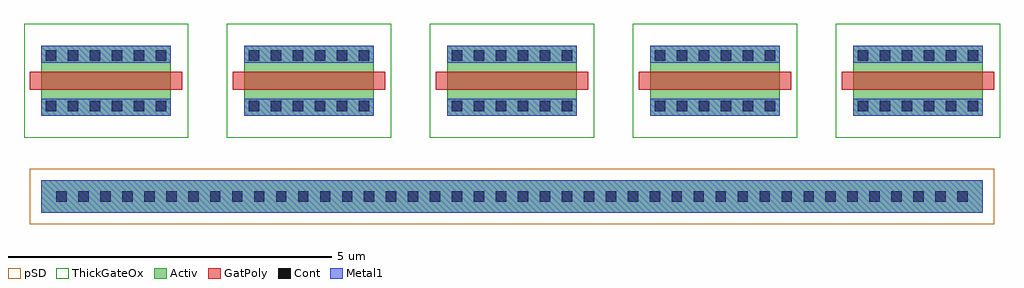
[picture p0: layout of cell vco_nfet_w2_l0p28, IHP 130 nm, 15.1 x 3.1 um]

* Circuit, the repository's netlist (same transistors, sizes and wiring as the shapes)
* extracted by klt extract --deck sg13cmos5l

* cell vco_nfet_w2_l0p28
* pin vsubs
.SUBCKT vco_nfet_w2_l0p28 vsubs
* device instance $1 r0 *1 1.89,3 nfet
X$1 \$12 \$2 \$3 vsubs sg13_hv_nmos L=0.28U W=2U AS=0.8P AD=0.8P PS=4.8U PD=4.8U
* device instance $2 r0 *1 5.03,3 nfet
X$2 \$13 \$4 \$5 vsubs sg13_hv_nmos L=0.28U W=2U AS=0.8P AD=0.8P PS=4.8U PD=4.8U
* device instance $3 r0 *1 8.17,3 nfet
X$3 \$14 \$6 \$7 vsubs sg13_hv_nmos L=0.28U W=2U AS=0.8P AD=0.8P PS=4.8U PD=4.8U
* device instance $4 r0 *1 11.31,3 nfet
X$4 \$15 \$8 \$9 vsubs sg13_hv_nmos L=0.28U W=2U AS=0.8P AD=0.8P PS=4.8U PD=4.8U
* device instance $5 r0 *1 14.45,3 nfet
X$5 \$16 \$10 \$11 vsubs sg13_hv_nmos L=0.28U W=2U AS=0.8P AD=0.8P PS=4.8U
+ PD=4.8U
.ENDS vco_nfet_w2_l0p28

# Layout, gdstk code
import gdstk
lib = gdstk.Library(unit=1e-6, precision=1e-09)
def R(c, l, rs):  # rectangles x0, y0, x1, y1
    for r in rs: c.add(gdstk.rectangle(r[:2], r[2:], *l))
def A(c, l, x, y, w, h, nx, ny, dx, dy):  # array of equal rectangles
    R(c, l, [(x+i*dx, y+j*dy, x+i*dx+w, y+j*dy+h) for i in range(nx) for j in range(ny)])
Activ = (1, 0)
GatPoly = (5, 0)
Cont = (6, 0)
Metal1 = (8, 0)
pSD = (14, 0)
ThickGateOx = (44, 0)

vco_nfet_w2_l0p28 = lib.new_cell('vco_nfet_w2_l0p28')
A(vco_nfet_w2_l0p28, Activ, 0.89, 2.46, 2, 1.08, 5, 1, 3.14, 0)
R(vco_nfet_w2_l0p28, Activ, [(0.89,0.96,15.45,1.46)])
A(vco_nfet_w2_l0p28, GatPoly, 0.71, 2.86, 2.36, 0.28, 5, 1, 3.14, 0)
A(vco_nfet_w2_l0p28, Cont, 1.12, 1.13, 0.16, 0.16, 42, 1, 0.34, 0)
A(vco_nfet_w2_l0p28, Cont, 0.96, 2.53, 0.16, 0.16, 6, 2, 0.34, 0.78)
A(vco_nfet_w2_l0p28, Cont, 4.1, 2.53, 0.16, 0.16, 6, 2, 0.34, 0.78)
A(vco_nfet_w2_l0p28, Cont, 7.24, 2.53, 0.16, 0.16, 6, 2, 0.34, 0.78)
A(vco_nfet_w2_l0p28, Cont, 10.38, 2.53, 0.16, 0.16, 6, 2, 0.34, 0.78)
A(vco_nfet_w2_l0p28, Cont, 13.52, 2.53, 0.16, 0.16, 6, 2, 0.34, 0.78)
A(vco_nfet_w2_l0p28, Metal1, 0.89, 2.46, 2, 0.26, 5, 2, 3.14, 0.82)
R(vco_nfet_w2_l0p28, Metal1, [(0.89,0.96,15.45,1.46)])
R(vco_nfet_w2_l0p28, pSD, [(0.71,0.78,15.63,1.64)])
A(vco_nfet_w2_l0p28, ThickGateOx, 0.62, 2.12, 2.54, 1.76, 5, 1, 3.14, 0)

lib.write_gds('vco_nfet_w2_l0p28.gds')
